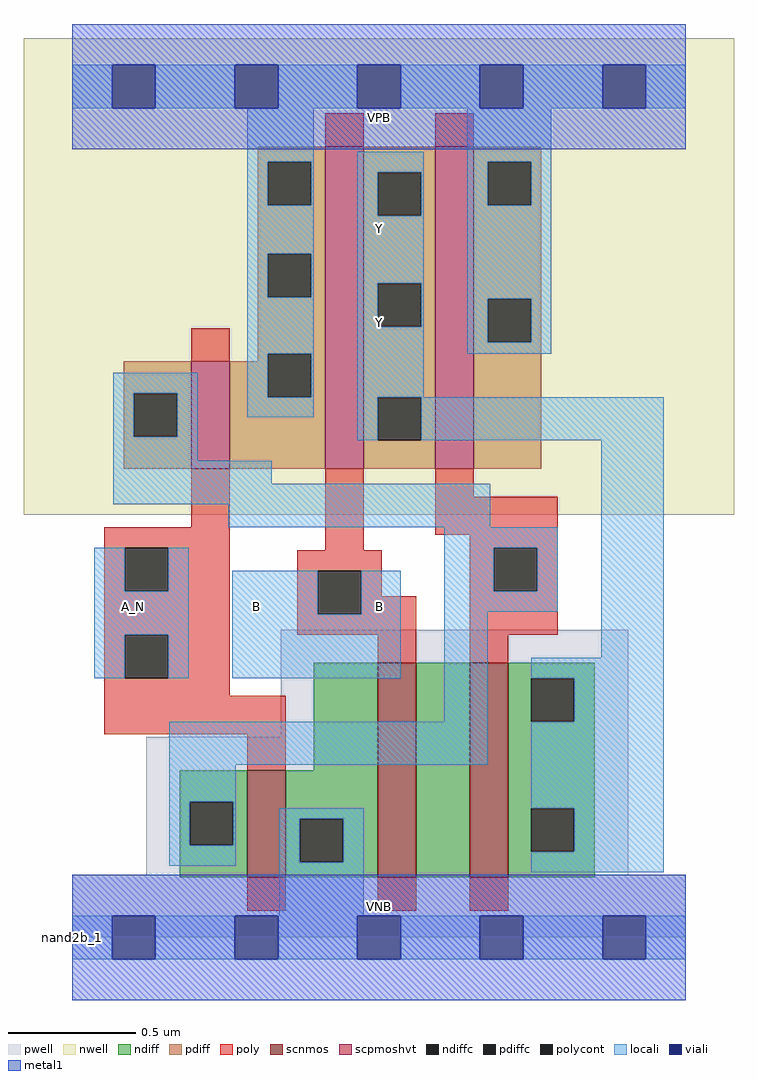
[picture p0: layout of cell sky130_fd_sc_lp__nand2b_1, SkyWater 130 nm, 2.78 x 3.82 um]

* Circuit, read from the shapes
.subckt sky130_fd_sc_lp__nand2b_1 A_N B VGND VNB VPB VPWR Y
XM1 VGND A_N n1 VNB sky130_fd_pr__nfet_01v8 w=0.42 l=0.15
XM2 n2 B VGND VNB sky130_fd_pr__nfet_01v8 w=0.84 l=0.15
XM3 Y n1 n2 VNB sky130_fd_pr__nfet_01v8 w=0.84 l=0.15
XM4 VPWR A_N n1 VPB sky130_fd_pr__pfet_01v8_hvt w=0.42 l=0.15
XM5 Y B VPWR VPB sky130_fd_pr__pfet_01v8_hvt w=1.26 l=0.15
XM6 VPWR n1 Y VPB sky130_fd_pr__pfet_01v8_hvt w=1.26 l=0.15
.ends

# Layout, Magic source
magic
tech sky130A
magscale 1 2
<< nwell >>
rect -38 331 518 704
<< pwell >>
rect 163 157 435 241
rect 58 49 435 157
rect 0 0 480 49
<< scnmos >>
rect 137 47 167 131
rect 239 47 269 215
rect 311 47 341 215
<< scpmoshvt >>
rect 93 367 123 451
rect 198 367 228 619
rect 284 367 314 619
<< ndiff >>
rect 189 131 239 215
rect 84 106 137 131
rect 84 72 92 106
rect 126 72 137 106
rect 84 47 137 72
rect 167 93 239 131
rect 167 59 178 93
rect 212 59 239 93
rect 167 47 239 59
rect 269 47 311 215
rect 341 203 409 215
rect 341 169 359 203
rect 393 169 409 203
rect 341 101 409 169
rect 341 67 359 101
rect 393 67 409 101
rect 341 47 409 67
<< pdiff >>
rect 145 607 198 619
rect 145 573 153 607
rect 187 573 198 607
rect 145 535 198 573
rect 145 501 153 535
rect 187 501 198 535
rect 145 457 198 501
rect 145 451 153 457
rect 40 426 93 451
rect 40 392 48 426
rect 82 392 93 426
rect 40 367 93 392
rect 123 423 153 451
rect 187 423 198 457
rect 123 367 198 423
rect 228 599 284 619
rect 228 565 239 599
rect 273 565 284 599
rect 228 512 284 565
rect 228 478 239 512
rect 273 478 284 512
rect 228 423 284 478
rect 228 389 239 423
rect 273 389 284 423
rect 228 367 284 389
rect 314 607 367 619
rect 314 573 325 607
rect 359 573 367 607
rect 314 500 367 573
rect 314 466 325 500
rect 359 466 367 500
rect 314 367 367 466
<< ndiffc >>
rect 92 72 126 106
rect 178 59 212 93
rect 359 169 393 203
rect 359 67 393 101
<< pdiffc >>
rect 153 573 187 607
rect 153 501 187 535
rect 48 392 82 426
rect 153 423 187 457
rect 239 565 273 599
rect 239 478 273 512
rect 239 389 273 423
rect 325 573 359 607
rect 325 466 359 500
<< poly >>
rect 198 619 228 645
rect 284 619 314 645
rect 93 451 123 477
rect 93 321 123 367
rect 25 305 123 321
rect 25 271 41 305
rect 75 271 123 305
rect 198 303 228 367
rect 284 345 314 367
rect 284 315 380 345
rect 311 305 380 315
rect 25 237 123 271
rect 176 287 242 303
rect 176 253 192 287
rect 226 267 242 287
rect 311 271 330 305
rect 364 271 380 305
rect 226 253 269 267
rect 176 237 269 253
rect 25 203 41 237
rect 75 203 123 237
rect 239 215 269 237
rect 311 237 380 271
rect 311 215 341 237
rect 25 189 123 203
rect 25 159 167 189
rect 137 131 167 159
rect 137 21 167 47
rect 239 21 269 47
rect 311 21 341 47
<< polycont >>
rect 41 271 75 305
rect 192 253 226 287
rect 330 271 364 305
rect 41 203 75 237
<< locali >>
rect 0 649 31 683
rect 65 649 127 683
rect 161 649 223 683
rect 257 649 319 683
rect 353 649 415 683
rect 449 649 480 683
rect 137 607 189 649
rect 137 573 153 607
rect 187 573 189 607
rect 137 535 189 573
rect 137 501 153 535
rect 187 501 189 535
rect 137 457 189 501
rect 32 426 98 442
rect 32 392 48 426
rect 82 392 98 426
rect 137 423 153 457
rect 187 423 189 457
rect 137 407 189 423
rect 223 599 275 615
rect 223 565 239 599
rect 273 565 275 599
rect 223 512 275 565
rect 223 478 239 512
rect 273 478 275 512
rect 223 423 275 478
rect 309 607 375 649
rect 309 573 325 607
rect 359 573 375 607
rect 309 500 375 573
rect 309 466 325 500
rect 359 466 375 500
rect 309 457 375 466
rect 32 373 98 392
rect 223 389 239 423
rect 273 389 463 423
rect 32 355 156 373
rect 32 339 327 355
rect 122 321 327 339
rect 291 305 380 321
rect 17 271 41 305
rect 75 271 91 305
rect 17 237 91 271
rect 17 203 41 237
rect 75 203 91 237
rect 125 253 192 287
rect 226 253 257 287
rect 125 203 257 253
rect 291 271 330 305
rect 364 271 380 305
rect 291 255 380 271
rect 291 169 325 255
rect 414 219 463 389
rect 76 135 325 169
rect 359 203 463 219
rect 393 169 463 203
rect 76 106 128 135
rect 76 72 92 106
rect 126 72 128 106
rect 359 101 463 169
rect 76 56 128 72
rect 162 93 228 101
rect 162 59 178 93
rect 212 59 228 93
rect 162 17 228 59
rect 393 67 463 101
rect 359 51 463 67
rect 0 -17 31 17
rect 65 -17 127 17
rect 161 -17 223 17
rect 257 -17 319 17
rect 353 -17 415 17
rect 449 -17 480 17
<< viali >>
rect 31 649 65 683
rect 127 649 161 683
rect 223 649 257 683
rect 319 649 353 683
rect 415 649 449 683
rect 31 -17 65 17
rect 127 -17 161 17
rect 223 -17 257 17
rect 319 -17 353 17
rect 415 -17 449 17
<< metal1 >>
rect 0 683 480 715
rect 0 649 31 683
rect 65 649 127 683
rect 161 649 223 683
rect 257 649 319 683
rect 353 649 415 683
rect 449 649 480 683
rect 0 617 480 649
rect 0 17 480 49
rect 0 -17 31 17
rect 65 -17 127 17
rect 161 -17 223 17
rect 257 -17 319 17
rect 353 -17 415 17
rect 449 -17 480 17
rect 0 -49 480 -17
<< labels >>
flabel pwell s 0 0 480 49 0 FreeSans 200 0 0 0 VNB
port 4 nsew ground bidirectional
flabel nwell s 0 617 480 666 0 FreeSans 200 0 0 0 VPB
port 5 nsew power bidirectional
rlabel comment s 0 0 0 0 4 nand2b_1
flabel metal1 s 0 617 480 666 0 FreeSans 340 0 0 0 VPWR
port 6 nsew power bidirectional
flabel metal1 s 0 0 480 49 0 FreeSans 340 0 0 0 VGND
port 3 nsew ground bidirectional
flabel locali s 223 464 257 498 0 FreeSans 340 0 0 0 Y
port 7 nsew signal output
flabel locali s 223 538 257 572 0 FreeSans 340 0 0 0 Y
port 7 nsew signal output
flabel locali s 127 242 161 276 0 FreeSans 340 0 0 0 B
port 2 nsew signal input
flabel locali s 223 242 257 276 0 FreeSans 340 0 0 0 B
port 2 nsew signal input
flabel locali s 31 242 65 276 0 FreeSans 340 0 0 0 A_N
port 1 nsew signal input
<< properties >>
string LEFsite unit
string LEFclass CORE
string FIXED_BBOX 0 0 480 666
string GDS_FILE $PDKPATH/libs.ref/sky130_fd_sc_lp/gds/sky130_fd_sc_lp.gds
string LEFsymmetry X Y R90
string GDS_END 4465538
string GDS_START 4460780
<< end >>
